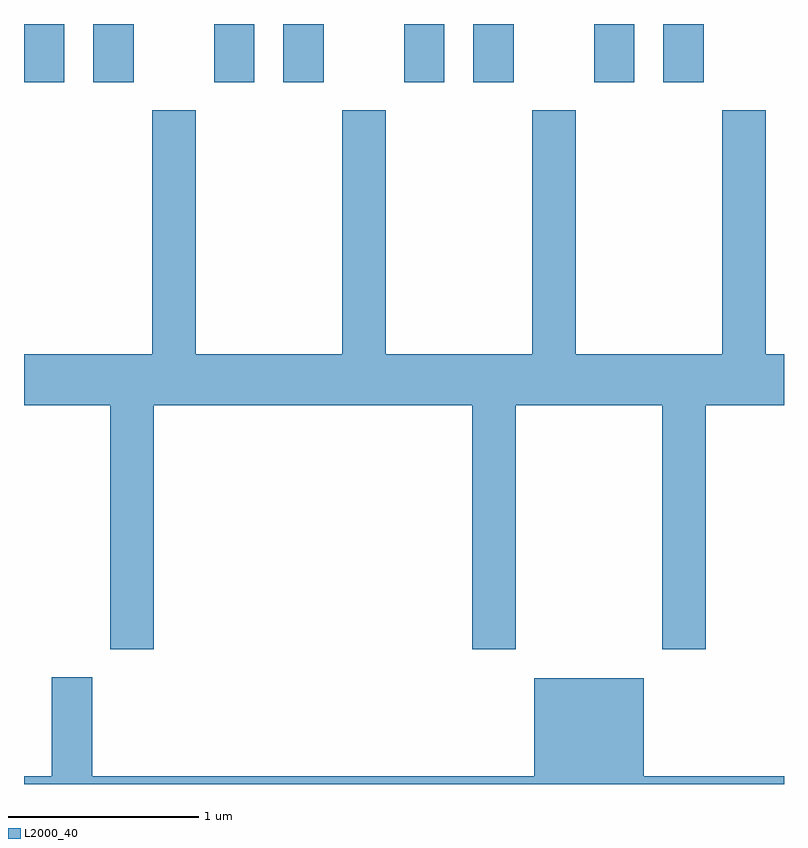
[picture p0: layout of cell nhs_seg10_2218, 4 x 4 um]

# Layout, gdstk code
import gdstk
lib = gdstk.Library(unit=1e-6, precision=1e-09)
def R(c, l, rs):  # rectangles x0, y0, x1, y1
    for r in rs: c.add(gdstk.rectangle(r[:2], r[2:], *l))
def P(c, l, *ps):  # polygons
    for p in ps: c.add(gdstk.Polygon(p, *l))
L2000_40 = (2000, 40)

nhs_seg10_2218 = lib.new_cell('nhs_seg10_2218')
R(nhs_seg10_2218, L2000_40, [(249.611,2182.216,249.824,2182.522), (249.976,2182.216,250.189,2182.522), (250.611,2182.216,250.824,2182.522), (250.976,2182.216,251.189,2182.522), (251.611,2182.216,251.824,2182.522), (251.976,2182.216,252.189,2182.522), (252.611,2182.216,252.824,2182.522), (252.976,2182.216,253.189,2182.522)])
P(nhs_seg10_2218, L2000_40, [(250.294,2180.516),(251.971,2180.516),(251.971,2179.231),(252.199,2179.231),(252.199,2180.516),(252.971,2180.516),(252.971,2179.231),(253.199,2179.231),(253.199,2180.516),(253.611,2180.516),(253.611,2180.784),(253.514,2180.784),(253.514,2182.069),(253.286,2182.069),(253.286,2180.784),(252.514,2180.784),(252.514,2182.069),(252.286,2182.069),(252.286,2180.784),(251.514,2180.784),(251.514,2182.069),(251.286,2182.069),(251.286,2180.784),(250.514,2180.784),(250.514,2182.069),(250.286,2182.069),(250.286,2180.784),(249.611,2180.784),(249.611,2180.516),(250.066,2180.516),(250.066,2179.231),(250.294,2179.231)],
  [(253.611,2178.564),(252.874,2178.564),(252.874,2179.079),(252.296,2179.079),(252.296,2178.564),(249.969,2178.564),(249.969,2179.084),(249.756,2179.084),(249.756,2178.564),(249.611,2178.564),(249.611,2178.522),(253.611,2178.522)])

lib.write_gds('nhs_seg10_2218.gds')
